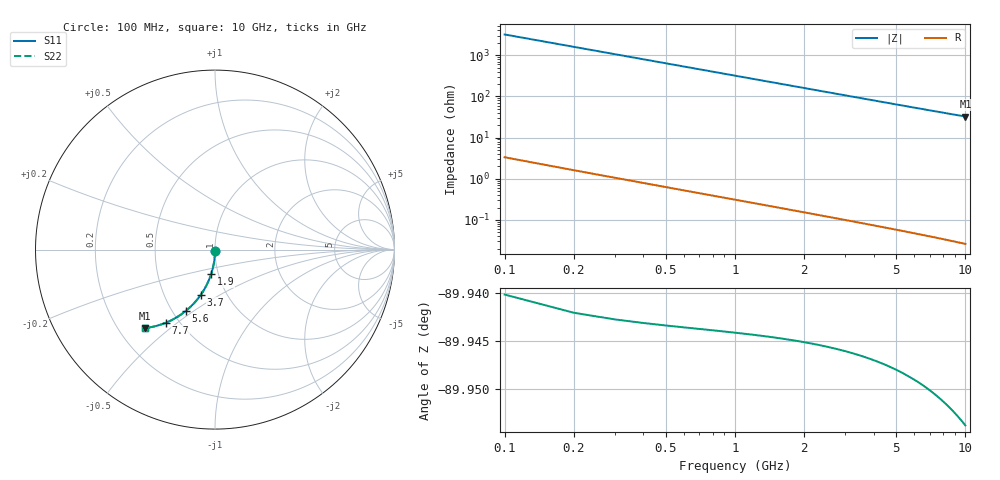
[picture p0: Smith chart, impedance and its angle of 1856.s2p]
# Hz S RI R 50.00
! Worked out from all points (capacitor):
!   100 points, 100 MHz to 10 GHz, reference 50 ohm
!   read as one part in shunt: C = 500 fF near 100 MHz
!   lowest |Z| = 32.4 ohm at 10 GHz (marker M1)
!   S11 on the Smith chart (normalised r, x): 100 MHz: 1.00, -0.01; 1.9 GHz: 0.92, -0.26; 3.7 GHz: 0.76, -0.41; 5.6 GHz: 0.58, -0.47; 7.7 GHz: 0.43, -0.46; 10 GHz: 0.31, -0.41
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1e8  0.00017 -0.00735  0.9997 -0.00835  0.9997 -0.00835  0.00017 -0.00735
2e8  -2.05e-05 -0.0147  0.9995 -0.0167  0.9995 -0.0167  -2.05e-05 -0.0147
3e8  -0.000334 -0.0221  0.9992 -0.025  0.9992 -0.025  -0.000334 -0.0221
4e8  -0.00077 -0.0294  0.9987 -0.0334  0.9987 -0.0334  -0.00077 -0.0294
5e8  -0.00133 -0.0367  0.9982 -0.0417  0.9982 -0.0417  -0.00133 -0.0367
6e8  -0.00201 -0.044  0.9975 -0.05  0.9975 -0.05  -0.00201 -0.044
8e8  -0.00373 -0.0586  0.9957 -0.0665  0.9957 -0.0665  -0.00373 -0.0586
1.1e9  -0.00722 -0.0803  0.9922 -0.0912  0.9922 -0.0912  -0.00722 -0.0803
1.4e9  -0.0118 -0.1017  0.9876 -0.1156  0.9876 -0.1156  -0.0118 -0.1017
1.8e9  -0.0194 -0.1297  0.9799 -0.1476  0.9799 -0.1476  -0.0194 -0.1297
1.9e9  -0.0216 -0.1366  0.9777 -0.1555  0.9777 -0.1555  -0.0216 -0.1366
2.2e9  -0.0288 -0.157  0.9704 -0.1789  0.9704 -0.1789  -0.0288 -0.157
2.6e9  -0.0399 -0.1834  0.9592 -0.2092  0.9592 -0.2092  -0.0399 -0.1834
3.4e9  -0.0666 -0.2329  0.9323 -0.2667  0.9323 -0.2667  -0.0666 -0.2329
3.7e9  -0.078 -0.2502  0.9208 -0.2871  0.9208 -0.2871  -0.078 -0.2502
4.4e9  -0.1071 -0.2878  0.8914 -0.3317  0.8914 -0.3317  -0.1071 -0.2878
5.1e9  -0.1392 -0.3211  0.859 -0.372  0.859 -0.372  -0.1392 -0.3211
5.6e9  -0.1634 -0.3422  0.8345 -0.3982  0.8345 -0.3982  -0.1634 -0.3422
6.7e9  -0.2193 -0.3807  0.7778 -0.4478  0.7778 -0.4478  -0.2193 -0.3807
7.7e9  -0.2716 -0.4065  0.7248 -0.4839  0.7248 -0.4839  -0.2716 -0.4065
8.4e9  -0.3081 -0.4198  0.6877 -0.5043  0.6877 -0.5043  -0.3081 -0.4198
1e10  -0.389 -0.437  0.6053 -0.5382  0.6053 -0.5382  -0.389 -0.437
